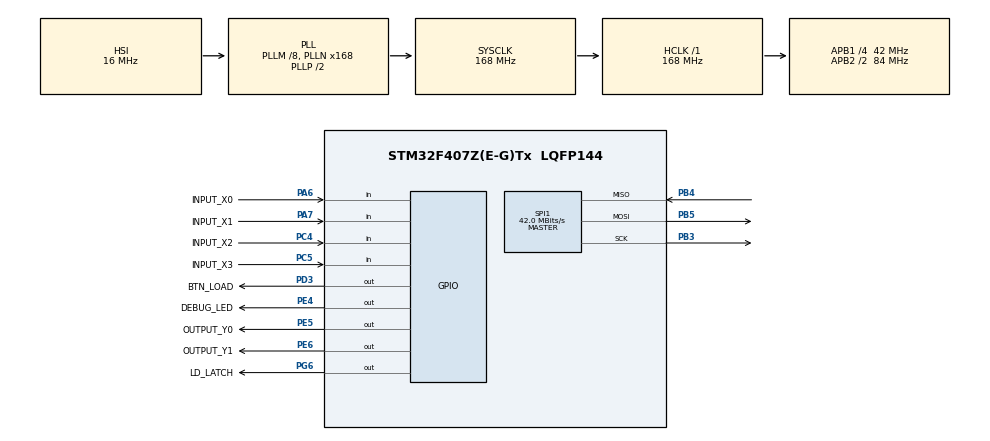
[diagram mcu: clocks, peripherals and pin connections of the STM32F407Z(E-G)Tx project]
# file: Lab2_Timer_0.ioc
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Mcu.Family=STM32F4
Mcu.Name=STM32F407Z(E-G)Tx
Mcu.Package=LQFP144
NVIC.PriorityGroup=NVIC_PRIORITYGROUP_4
NVIC.TIM2_IRQn=true\:0\:0\:false\:false\:true\:true\:true\:true
NVIC.TIM3_IRQn=true\:0\:0\:false\:false\:true\:true\:true\:true
NVIC.TIM4_IRQn=true\:0\:0\:false\:false\:true\:true\:true\:true
PA13.Mode=Serial_Wire
PA13.Signal=SYS_JTMS-SWDIO
PA14.Mode=Serial_Wire
PA14.Signal=SYS_JTCK-SWCLK
PA6.GPIO_Label=INPUT_X0
PA6.Signal=GPIO_Input
PA7.GPIO_Label=INPUT_X1
PA7.Signal=GPIO_Input
PB3.Mode=Full_Duplex_Master
PB3.Signal=SPI1_SCK
PB4.Mode=Full_Duplex_Master
PB4.Signal=SPI1_MISO
PB5.Mode=Full_Duplex_Master
PB5.Signal=SPI1_MOSI
PC4.GPIO_Label=INPUT_X2
PC4.Signal=GPIO_Input
PC5.GPIO_Label=INPUT_X3
PC5.Signal=GPIO_Input
PD3.GPIO_Label=BTN_LOAD
PD3.Signal=GPIO_Output
PE4.GPIO_Label=DEBUG_LED
PE4.Signal=GPIO_Output
PE5.GPIO_Label=OUTPUT_Y0
PE5.Signal=GPIO_Output
PE6.GPIO_Label=OUTPUT_Y1
PE6.Signal=GPIO_Output
PG6.GPIO_Label=LD_LATCH
PG6.Signal=GPIO_Output
PH0-OSC_IN.Mode=HSE-External-Oscillator
PH0-OSC_IN.Signal=RCC_OSC_IN
PH1-OSC_OUT.Mode=HSE-External-Oscillator
PH1-OSC_OUT.Signal=RCC_OSC_OUT
ProjectManager.HeapSize=0x200
ProjectManager.StackSize=0x400
ProjectManager.TargetToolchain=STM32CubeIDE
RCC.48MHZClocksFreq_Value=84000000
RCC.AHBFreq_Value=168000000
RCC.APB1CLKDivider=RCC_HCLK_DIV4
RCC.APB1Freq_Value=42000000
RCC.APB1TimFreq_Value=84000000
RCC.APB2CLKDivider=RCC_HCLK_DIV2
RCC.APB2Freq_Value=84000000
RCC.APB2TimFreq_Value=168000000
RCC.CortexFreq_Value=168000000
RCC.HCLKFreq_Value=168000000
RCC.HSE_VALUE=8000000
RCC.HSI_VALUE=16000000
RCC.LSE_VALUE=32768
RCC.PLLM=8
RCC.PLLN=168
RCC.SYSCLKFreq_VALUE=168000000
RCC.SYSCLKSource=RCC_SYSCLKSOURCE_PLLCLK
RCC.VCOOutputFreq_Value=336000000
SPI1.CalculateBaudRate=42.0 MBits/s
SPI1.Direction=SPI_DIRECTION_2LINES
SPI1.Mode=SPI_MODE_MASTER
SPI1.VirtualType=VM_MASTER
TIM2.Period=100-1
TIM2.Prescaler=840-1
TIM3.Period=100-1
TIM3.Prescaler=840-1
TIM4.Period=100-1
TIM4.Prescaler=840-1
VP_TIM2_VS_ClockSourceINT.Mode=Internal
VP_TIM3_VS_ClockSourceINT.Mode=Internal
VP_TIM4_VS_ClockSourceINT.Mode=Internal
board=custom

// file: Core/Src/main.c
/* USER CODE BEGIN Header */
/**
 ******************************************************************************
 * @file           : main.c
 * @brief          : Main program body
 ******************************************************************************
 * @attention
 *
 * <h2><center>&copy; Copyright (c) 2023 STMicroelectronics.
 * All rights reserved.</center></h2>
 *
 * This software component is licensed by ST under BSD 3-Clause license,
 * the "License"; You may not use this file except in compliance with the
 * License. You may obtain a copy of the License at:
 *                        opensource.org/licenses/BSD-3-Clause
 *
 ******************************************************************************
 */
/* USER CODE END Header */
#include "main.h"
#include "spi.h"
#include "tim.h"
#include "gpio.h"

/* USER CODE BEGIN Includes */
#include "led_7seg.h"
#include "software_timer.h"
/* USER CODE END Includes */

void SystemClock_Config(void);
/* USER CODE BEGIN PFP */
void init_system(void);
/* USER CODE END PFP */

int main(void) {

	/* MCU Configuration--------------------------------------------------------*/

	/* Reset of all peripherals, Initializes the Flash interface and the Systick. */
	HAL_Init();

	/* Configure the system clock */
	SystemClock_Config();

	/* USER CODE BEGIN SysInit */
	SystemClock_Config();
	/* USER CODE END SysInit */

	/* Initialize all configured peripherals */
	MX_GPIO_Init();
	MX_TIM2_Init();
	MX_SPI1_Init();
	MX_TIM3_Init();
	MX_TIM4_Init();
	/* USER CODE BEGIN 2 */
	init_system();
	/* USER CODE END 2 */

	/* Infinite loop */
	/* USER CODE BEGIN WHILE */
	while (1) {
		if (timer2_flag == 1) {
			timer2_flag = 0;

			HAL_GPIO_TogglePin(DEBUG_LED_GPIO_Port, DEBUG_LED_Pin);
		}

		if (timer3_flag == 1) {
			timer3_flag = 0;

			HAL_GPIO_TogglePin(OUTPUT_Y0_GPIO_Port, OUTPUT_Y0_Pin);
		}

		if (timer4_flag == 1) {
			timer4_flag = 0;

			HAL_GPIO_TogglePin(OUTPUT_Y1_GPIO_Port, OUTPUT_Y1_Pin);
		}

		/* USER CODE END WHILE */

	}
}

void SystemClock_Config(void) {
	RCC_OscInitTypeDef RCC_OscInitStruct = { 0 };
	RCC_ClkInitTypeDef RCC_ClkInitStruct = { 0 };

	/** Configure the main internal regulator output voltage
	 */
	__HAL_RCC_PWR_CLK_ENABLE();
	__HAL_PWR_VOLTAGESCALING_CONFIG(PWR_REGULATOR_VOLTAGE_SCALE1);

	/** Initializes the RCC Oscillators according to the specified parameters
	 * in the RCC_OscInitTypeDef structure.
	 */
	RCC_OscInitStruct.OscillatorType = RCC_OSCILLATORTYPE_HSI;
	RCC_OscInitStruct.HSIState = RCC_HSI_ON;
	RCC_OscInitStruct.HSICalibrationValue = RCC_HSICALIBRATION_DEFAULT;
	RCC_OscInitStruct.PLL.PLLState = RCC_PLL_ON;
	RCC_OscInitStruct.PLL.PLLSource = RCC_PLLSOURCE_HSI;
	RCC_OscInitStruct.PLL.PLLM = 8;
	RCC_OscInitStruct.PLL.PLLN = 168;
	RCC_OscInitStruct.PLL.PLLP = RCC_PLLP_DIV2;
	RCC_OscInitStruct.PLL.PLLQ = 4;
	if (HAL_RCC_OscConfig(&RCC_OscInitStruct) != HAL_OK) {
		Error_Handler();
	}

	/** Initializes the CPU, AHB and APB buses clocks
	 */
	RCC_ClkInitStruct.ClockType = RCC_CLOCKTYPE_HCLK | RCC_CLOCKTYPE_SYSCLK
			| RCC_CLOCKTYPE_PCLK1 | RCC_CLOCKTYPE_PCLK2;
	RCC_ClkInitStruct.SYSCLKSource = RCC_SYSCLKSOURCE_PLLCLK;
	RCC_ClkInitStruct.AHBCLKDivider = RCC_SYSCLK_DIV1;
	RCC_ClkInitStruct.APB1CLKDivider = RCC_HCLK_DIV4;
	RCC_ClkInitStruct.APB2CLKDivider = RCC_HCLK_DIV2;

	if (HAL_RCC_ClockConfig(&RCC_ClkInitStruct, FLASH_LATENCY_5) != HAL_OK) {
		Error_Handler();
	}
}

/* USER CODE BEGIN 4 */
void init_system(void) {
	timer2_init();
	timer2_set(1000);

	timer3_init();
	timer3_set(2000);

	timer4_init();
	timer4_set(4000);
}
/* USER CODE END 4 */

void Error_Handler(void) {
	__disable_irq();
	while (1) {
	}
}
